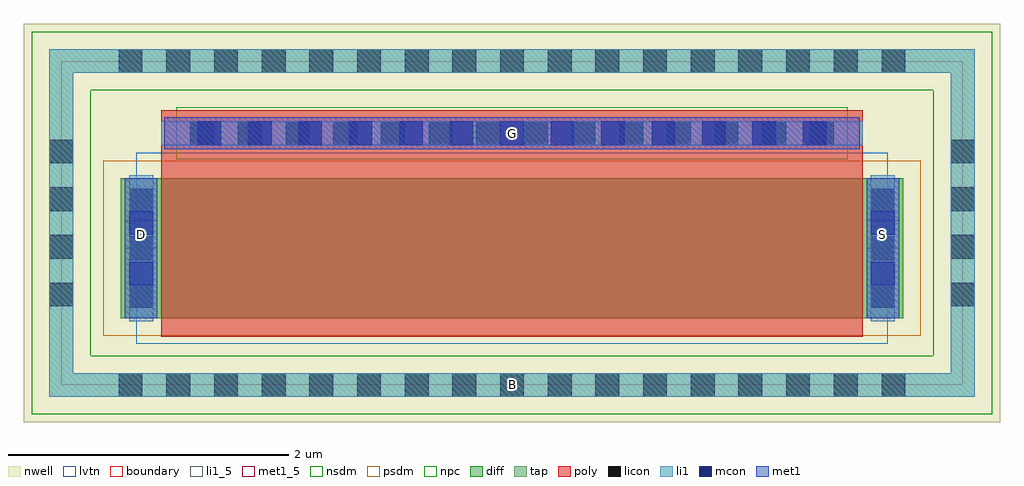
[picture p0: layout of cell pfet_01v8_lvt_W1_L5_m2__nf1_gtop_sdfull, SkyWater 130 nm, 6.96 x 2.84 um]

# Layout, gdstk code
import gdstk
lib = gdstk.Library(unit=1e-6, precision=1e-09)
def R(c, l, rs):  # rectangles x0, y0, x1, y1
    for r in rs: c.add(gdstk.rectangle(r[:2], r[2:], *l))
def A(c, l, x, y, w, h, nx, ny, dx, dy):  # array of equal rectangles
    R(c, l, [(x+i*dx, y+j*dy, x+i*dx+w, y+j*dy+h) for i in range(nx) for j in range(ny)])
nwell = (64, 20)
diff = (65, 20)
tap = (65, 44)
poly = (66, 20)
licon = (66, 44)
li1_5 = (67, 5)
li1 = (67, 20)
mcon = (67, 44)
met1_5 = (68, 5)
met1 = (68, 20)
nsdm = (93, 44)
psdm = (94, 20)
npc = (95, 20)
lvtn = (125, 44)
boundary = (235, 4)

sky130_fd_pr__pfet_01v8_ = lib.new_cell('sky130_fd_pr__pfet_01v8_lvt_64CT9D')
R(sky130_fd_pr__pfet_01v8_, nwell, [(-3.48,-1.42,3.48,1.42)])
R(sky130_fd_pr__pfet_01v8_, diff, [(-2.79,-0.68,2.79,0.32)])
R(sky130_fd_pr__pfet_01v8_, tap, [(-3.3,-1.24,3.3,-1.07), (-3.3,-1.07,-3.13,1.07), (3.13,-1.07,3.3,1.07), (-3.3,1.07,3.3,1.24)])
R(sky130_fd_pr__pfet_01v8_, poly, [(-2.5,-0.81,2.5,0.805)])
A(sky130_fd_pr__pfet_01v8_, licon, -2.805, -1.24, 0.17, 0.17, 17, 2, 0.34, 2.31)
A(sky130_fd_pr__pfet_01v8_, licon, -2.73, -0.605, 0.17, 0.17, 1, 3, 0, 0.34)
A(sky130_fd_pr__pfet_01v8_, licon, 2.56, -0.605, 0.17, 0.17, 1, 3, 0, 0.34)
A(sky130_fd_pr__pfet_01v8_, licon, -3.3, -0.595, 0.17, 0.17, 1, 4, 0, 0.34)
A(sky130_fd_pr__pfet_01v8_, licon, 3.13, -0.595, 0.17, 0.17, 1, 4, 0, 0.34)
A(sky130_fd_pr__pfet_01v8_, licon, -2.295, 0.555, 0.17, 0.17, 14, 1, 0.34, 0)
R(sky130_fd_pr__pfet_01v8_, li1, [(-3.3,-1.24,3.3,-1.07), (-3.3,-1.07,-3.13,1.07), (3.13,-1.07,3.3,1.07), (-2.73,-0.7,-2.56,0.34), (2.56,-0.7,2.73,0.34), (-2.5,0.555,2.5,0.725), (-3.3,1.07,3.3,1.24)])
A(sky130_fd_pr__pfet_01v8_, mcon, -2.245, 0.555, 0.17, 0.17, 13, 1, 0.36, 0)
R(sky130_fd_pr__pfet_01v8_, mcon, [(-2.73,-0.445,-2.56,-0.275), (2.56,-0.445,2.73,-0.275), (-2.73,-0.085,-2.56,0.085), (2.56,-0.085,2.73,0.085)])
R(sky130_fd_pr__pfet_01v8_, met1, [(-2.76,-0.68,-2.53,0.32), (2.53,-0.68,2.76,0.32), (-2.48,0.525,2.48,0.755)])
R(sky130_fd_pr__pfet_01v8_, nsdm, [(-3.425,-1.365,3.425,-0.945), (-3.425,-0.945,-3.005,0.945), (3.005,-0.945,3.425,0.945), (-3.425,0.945,3.425,1.365)])
R(sky130_fd_pr__pfet_01v8_, psdm, [(-2.915,-0.805,2.915,0.445)])
R(sky130_fd_pr__pfet_01v8_, npc, [(-2.395,0.455,2.395,0.825)])
R(sky130_fd_pr__pfet_01v8_, lvtn, [(-2.68,-0.86,2.68,0.5)])
R(sky130_fd_pr__pfet_01v8_, boundary, [(-3.215,-1.155,3.215,1.155)])
sky130_fd_pr__pfet_01v8_.add(gdstk.Label('B', (0,-1.155), layer=67, texttype=5))
sky130_fd_pr__pfet_01v8_.add(gdstk.Label('D', (-2.645,-0.18), layer=67, texttype=5))
sky130_fd_pr__pfet_01v8_.add(gdstk.Label('S', (2.645,-0.18), layer=67, texttype=5))
sky130_fd_pr__pfet_01v8_.add(gdstk.Label('G', (0,0.64), layer=67, texttype=5))

pfet_01v8_lvt_w1_l5_m2__ = lib.new_cell('pfet_01v8_lvt_W1_L5_m2__nf1_gtop_sdfull')
R(pfet_01v8_lvt_w1_l5_m2__, li1_5, [(3.13,-0.085,3.3,0.085)])
R(pfet_01v8_lvt_w1_l5_m2__, li1, [(3.13,-0.085,3.3,0.085)])
R(pfet_01v8_lvt_w1_l5_m2__, met1_5, [(0.455,0.975,0.685,1.175), (5.745,0.975,5.975,1.175), (0.735,1.68,5.695,1.91)])
R(pfet_01v8_lvt_w1_l5_m2__, met1, [(0.455,0.975,0.685,1.175), (5.745,0.975,5.975,1.175), (0.735,1.68,5.695,1.91)])
pfet_01v8_lvt_w1_l5_m2__.add(gdstk.Reference(sky130_fd_pr__pfet_01v8_, (3.215,1.155)))
pfet_01v8_lvt_w1_l5_m2__.add(gdstk.Label('D', (0.57,1.075), layer=68, texttype=5))
pfet_01v8_lvt_w1_l5_m2__.add(gdstk.Label('S', (5.86,1.075), layer=68, texttype=5))
pfet_01v8_lvt_w1_l5_m2__.add(gdstk.Label('G', (3.215,1.795), layer=68, texttype=5))
pfet_01v8_lvt_w1_l5_m2__.add(gdstk.Label('B', (3.215,0), layer=67, texttype=5))

lib.write_gds('pfet_01v8_lvt_W1_L5_m2__nf1_gtop_sdfull.gds')
